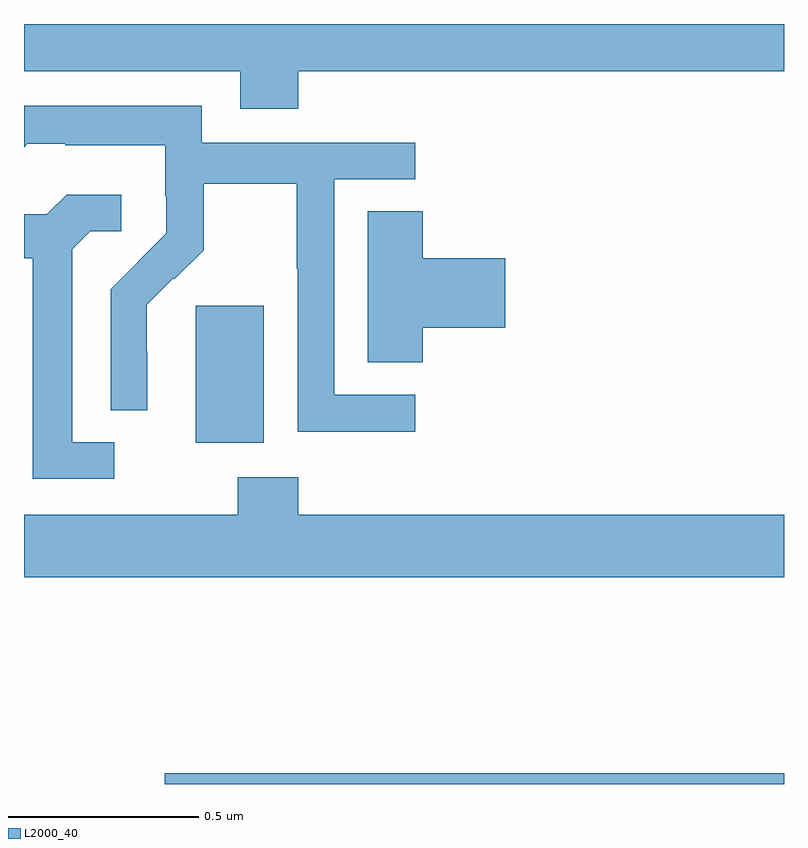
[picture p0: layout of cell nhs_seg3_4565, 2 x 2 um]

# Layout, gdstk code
import gdstk
lib = gdstk.Library(unit=1e-6, precision=1e-09)
def R(c, l, rs):  # rectangles x0, y0, x1, y1
    for r in rs: c.add(gdstk.rectangle(r[:2], r[2:], *l))
def P(c, l, *ps):  # polygons
    for p in ps: c.add(gdstk.Polygon(p, *l))
L2000_40 = (2000, 40)

nhs_seg3_4565 = lib.new_cell('nhs_seg3_4565')
R(nhs_seg3_4565, L2000_40, [(168.371,672.4,170,672.428), (168.452,673.298,168.631,673.659)])
P(nhs_seg3_4565, L2000_40, [(168.722,674.276),(170,674.276),(170,674.4),(168,674.4),(168,674.276),(168.569,674.276),(168.569,674.177),(168.722,674.177)],
  [(169.03,673.425),(168.816,673.425),(168.816,673.992),(169.03,673.992),(169.03,674.088),(168.468,674.088),(168.468,674.185),(168,674.185),(168,674.076),(168.009,674.085),(168.109,674.085),(168.109,674.081),(168.372,674.081),(168.372,673.947),(168.374,673.947),(168.374,673.85),(168.3,673.776),(168.301,673.775),(168.228,673.702),(168.228,673.384),(168.324,673.384),(168.324,673.538),(168.323,673.538),(168.323,673.661),(168.393,673.731),(168.396,673.728),(168.473,673.805),(168.473,673.98),(168.718,673.98),(168.718,673.756),(168.72,673.756),(168.72,673.327),(169.03,673.327)],
  [(168.238,673.299),(168.127,673.299),(168.127,673.807),(168.174,673.854),(168.256,673.854),(168.256,673.951),(168.112,673.951),(168.06,673.899),(168,673.899),(168,673.784),(168.023,673.784),(168.023,673.203),(168.238,673.203)],
  [(169.049,673.601),(169.267,673.601),(169.267,673.784),(169.049,673.784),(169.049,673.907),(168.905,673.907),(168.905,673.51),(169.049,673.51)],
  [(170,673.108),(168.722,673.108),(168.722,673.207),(168.562,673.207),(168.562,673.108),(168,673.108),(168,672.944),(170,672.944)])

lib.write_gds('nhs_seg3_4565.gds')
